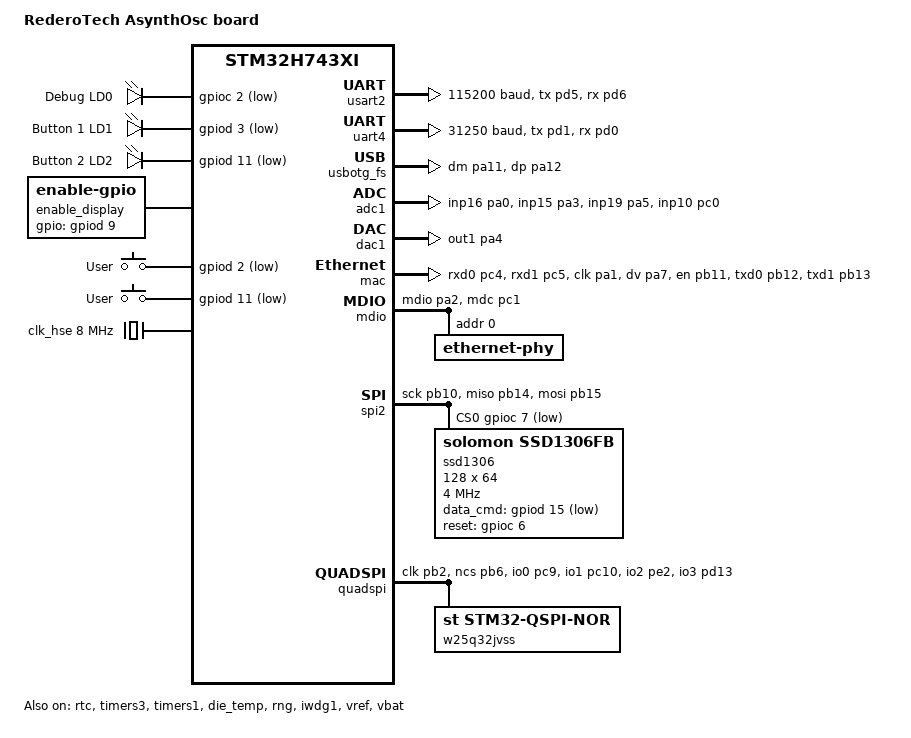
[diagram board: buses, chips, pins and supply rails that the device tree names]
/*
 * Copyright (c) 2024 RederoTech
 *
 * SPDX-License-Identifier: Apache-2.0
 */

/dts-v1/;
#include <st/h7/stm32h743Xi.dtsi>
#include <st/h7/stm32h743vitx-pinctrl.dtsi>
#include <zephyr/dt-bindings/input/input-event-codes.h>

/ {
	model = "RederoTech AsynthOsc board";
	compatible = "rederotech,asynthosc";

	chosen {
		zephyr,console = &usart2;
		zephyr,shell-uart = &usart2;
		zephyr,sram = &sram0;
		zephyr,flash = &flash0;
		zephyr,dtcm = &dtcm;
		zephyr,code-partition = &slot0_partition;
		zephyr,display = &ssd1306;
                zephyr,flash-controller = &w25q32jvss;
	};

	leds: leds {
		compatible = "gpio-leds";
		debug_led: led_0 {
			gpios = <&gpioc 2 GPIO_ACTIVE_LOW>;
			label = "Debug LD0";
		};
		button1_led: led_1 {
			gpios = <&gpiod 3 GPIO_ACTIVE_LOW>;
			label = "Button 1 LD1";
		};
		button2_led: led_2 {
			gpios = <&gpiod 11 GPIO_ACTIVE_LOW>;
			label = "Button 2 LD2";
		};
	};

        enable_display: enable_display {
            compatible = "enable-gpio";
            gpios = <&gpiod 9 GPIO_ACTIVE_HIGH>;
        };

	gpio_keys {
		compatible = "gpio-keys";
		left_button: button_0 {
			label = "User";
			gpios = <&gpiod 2 GPIO_ACTIVE_LOW>;
			zephyr,code = <INPUT_KEY_0>;
		};
		right_button: button_1 {
			label = "User";
			gpios = <&gpiod 11 GPIO_ACTIVE_LOW>;
			zephyr,code = <INPUT_KEY_1>;
		};
	};

	aliases {
		led0 = &debug_led;
		led1 = &button1_led;
		sw0 = &left_button;
		watchdog0 = &iwdg;
		die-temp0 = &die_temp;
		volt-sensor0 = &vref;
		volt-sensor1 = &vbat;
                qdec0 = &qdec;
	};
};

&clk_lsi {
	status = "okay";
};

&clk_hsi48 {
	status = "okay";
};

&clk_hse {
	hse-bypass;
	clock-frequency = <DT_FREQ_M(8)>; /* STLink 8MHz clock */
	status = "okay";
};

&pll {
	div-m = <2>;
	mul-n = <240>;
	div-p = <2>;
	div-q = <2>;
	div-r = <2>;
	clocks = <&clk_hse>;
	status = "okay";
};

&pll2 {
	div-m = <4>;
	mul-n = <120>;
	div-p = <2>;
	div-q = <3>; /* gives 80MHz to the FDCAN */
	div-r = <2>;
	clocks = <&clk_hse>;
	status = "okay";
};

&rcc {
	clocks = <&pll>;
	clock-frequency = <DT_FREQ_M(480)>;
	d1cpre = <1>;
	hpre = <2>;
	d1ppre = <2>;
	d2ppre1 = <2>;
	d2ppre2 = <2>;
	d3ppre = <2>;
};

&usart2 {
	pinctrl-0 = <&usart2_tx_pd5 &usart2_rx_pd6>;
	pinctrl-names = "default";
	current-speed = <115200>;
	status = "okay";
};

midi: &uart4 {
	pinctrl-0 = <&uart4_tx_pd1 &uart4_rx_pd0>;
	pinctrl-names = "default";
	current-speed = <31250>;
	status = "okay";
};

zephyr_udc0: &usbotg_fs {
	pinctrl-0 = <&usb_otg_fs_dm_pa11 &usb_otg_fs_dp_pa12>;
	pinctrl-names = "default";
	status = "okay";
};

&rtc {
	clocks = <&rcc STM32_CLOCK_BUS_APB4 0x00010000>,
		 <&rcc STM32_SRC_LSI RTC_SEL(2)>;
	status = "okay";
};

&timers3 {
    status = "okay";

    qdec: qdec {
        status = "disabled";
        pinctrl-0 = <&tim3_ch3_pc8 &tim3_ch1_pb4>;
        pinctrl-names = "default";
        st,input-polarity-inverted;
    //    st,input-filter-level = <FDIV32_N8>;
        st,counts-per-revolution = <16>;
    };

};

&timers1 {
    status = "okay";
    //pinctrl-0 = <&tim1_ch3_pe13 &tim1_ch4_pe14>;
};

&adc1 {
	pinctrl-0 = <&adc1_inp16_pa0 &adc1_inp15_pa3 &adc1_inp19_pa5 &adc1_inp10_pc0>;
	pinctrl-names = "default";
	st,adc-clock-source = <SYNC>;
	st,adc-prescaler = <4>;
	status = "okay";
};

&die_temp {
	status = "okay";
};

&dac1 {
	status = "okay";
	pinctrl-0 = <&dac1_out1_pa4>;
	pinctrl-names = "default";
};

&rng {
	status = "okay";
};

&mac {
	status = "okay";
	pinctrl-0 = <&eth_rxd0_pc4
		     &eth_rxd1_pc5
		     &eth_ref_clk_pa1
		     &eth_crs_dv_pa7
		     &eth_tx_en_pb11
		     &eth_txd0_pb12
		     &eth_txd1_pb13>;
	pinctrl-names = "default";
};

&mdio {
	status = "okay";
	pinctrl-0 = <&eth_mdio_pa2 &eth_mdc_pc1>;
	pinctrl-names = "default";

	ethernet-phy@0 {
		compatible = "ethernet-phy";
		reg = <0x00>;
		status = "okay";
	};
};

&spi2 {
	status = "okay";
	pinctrl-0 = <&spi2_sck_pb10 &spi2_miso_pb14 &spi2_mosi_pb15>;
	pinctrl-names = "default";
	cs-gpios = <&gpioc 7 (GPIO_ACTIVE_LOW | GPIO_PULL_UP)>;

	ssd1306: ssd1306@0 {
		compatible = "solomon,ssd1306fb";
		width = <128>;
		height = <64>;
		segment-offset = <0>;
		page-offset = <0>;
		display-offset = <0>;
		multiplex-ratio = <63>;
		segment-remap;
		com-invdir;
		com-sequential;
		prechargep = <0x22>;
		inversion-on;
		reg = <0>;
                data_cmd-gpios = <&gpiod 15 GPIO_ACTIVE_LOW>;
                reset-gpios = <&gpioc 6 GPIO_ACTIVE_HIGH>;
                spi-max-frequency = <4000000>;
	};
};

&quadspi {
	pinctrl-names = "default";
	pinctrl-0 = <&quadspi_clk_pb2 &quadspi_bk1_ncs_pb6
		&quadspi_bk1_io0_pc9 &quadspi_bk1_io1_pc10
		&quadspi_bk1_io2_pe2 &quadspi_bk1_io3_pd13>;
	flash-id = <1>;
	status = "okay";

	w25q32jvss: qspi-nor-flash@90000000 {
		compatible = "st,stm32-qspi-nor";
		reg = <0x90000000 DT_SIZE_M(4)>; /* 32 Mbits */
		qspi-max-frequency = <8000000>;
		status = "okay";
		spi-bus-width = <4>;
		writeoc = "PP_1_4_4";
	};
};

&backup_sram {
	status = "okay";
};

&flash0 {
	partitions {
		compatible = "fixed-partitions";
		#address-cells = <1>;
		#size-cells = <1>;

		/* 128KB for bootloader */
		boot_partition: partition@0 {
			label = "mcuboot";
			reg = <0x00000000 DT_SIZE_K(128)>;
			read-only;
		};

		/* storage: 128KB for settings */
		storage_partition: partition@20000 {
			label = "storage";
			reg = <0x00020000 DT_SIZE_K(128)>;
		};

		/* application image slot: 256KB */
		slot0_partition: partition@40000 {
			label = "image-0";
			reg = <0x00040000 DT_SIZE_K(256)>;
		};

		/* backup slot: 256KB */
		slot1_partition: partition@80000 {
			label = "image-1";
			reg = <0x00080000 DT_SIZE_K(256)>;
		};

		/* swap slot: 128KB */
		scratch_partition: partition@c0000 {
			label = "image-scratch";
			reg = <0x000c0000 DT_SIZE_K(128)>;
		};

	};
};

&iwdg1 {
	status = "okay";
};

&vref {
	status = "okay";
};

&vbat {
	status = "okay";
};
